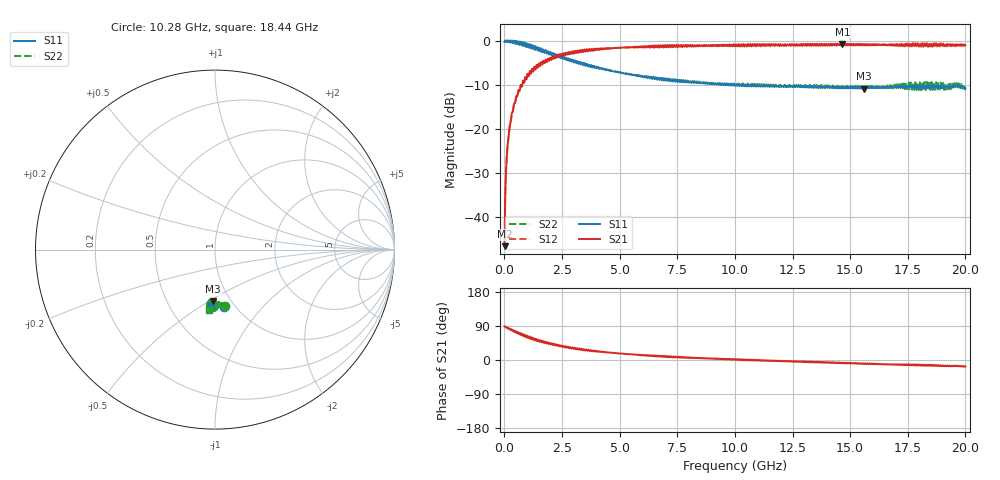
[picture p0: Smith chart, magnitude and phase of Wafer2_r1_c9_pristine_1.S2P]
!  2-Port S-parameters saved by WinCal
! VAR MeasName=S-Parameters (CALIBRATED_DATA) read from VNA (P5004A)
! VAR MeasDate=26/04/2024 17:50:42
! VAR NAME=Wafer2_r1_c9_pristine
! VAR FILENAME=Wafer2_r1_c9_pristine_1.S2P
! VAR DATE=26/04/2024 17:50:42
! VAR PHYS_PORTS=1,2
! VAR ObjTypeName=DATASET
! VAR IndexType=Frequency
# Hz S MA R 50
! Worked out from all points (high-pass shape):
!   1999 points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, 10.01 MHz to 20 GHz, reference 50 ohm
!   highest |S21| = -0.64 dB at 14.67 GHz (marker M1); lowest = -46.5 dB at 10.01 MHz (marker M2)
!   |S21| within 3 dB of the highest: 2.164 GHz to 2.215 GHz (50.91 MHz wide, 2.33 % of centre); 2.25 GHz to end of sweep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
!   lowest |S11| = -10.8 dB at 15.61 GHz (marker M3), VSWR 1.81, Z = 41.5 - j26.2 ohm
!   |S11| at or under -10 dB: 11.09 GHz to 18.15 GHz (7.06 GHz wide, 48.3 % of centre); 18.85 GHz to 19.54 GHz (687.6 MHz wide, 3.58 % of centre); 19.65 GHz to end of sweep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
!   |S22| runs from -11.2 to 0.1 dB; largest |S21 - S12| = 0.037
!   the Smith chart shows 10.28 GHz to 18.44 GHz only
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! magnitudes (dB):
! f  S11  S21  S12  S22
! 10.01 MHz  -0.2  -46.5  -46.5  -0.2
! 50.03 MHz  0.1  -32.4  -32.5  0.1
! 120.1 MHz  0.1  -25.0  -25.0  0.0
! 160.1 MHz  -0.1  -22.6  -22.7  -0.1
! 210.1 MHz  0.0  -20.2  -20.2  0.0
! 280.1 MHz  -0.3  -18.1  -18.0  -0.3
! 380.2 MHz  -0.4  -15.5  -15.5  -0.4
! 500.3 MHz  -0.1  -13.0  -12.9  -0.1
! 660.3 MHz  -0.9  -11.3  -11.3  -0.8
! 1.051 GHz  -1.5  -8.0  -8.0  -1.5
! 1.551 GHz  -2.3  -5.6  -5.6  -2.3
! 2.331 GHz  -3.7  -3.6  -3.6  -3.6
! 3.342 GHz  -5.2  -2.4  -2.3  -5.1
! 4.892 GHz  -7.0  -1.5  -1.6  -6.9
! 6.673 GHz  -8.3  -1.0  -1.0  -8.5
! 10.01 GHz  -10.1  -1.1  -1.2  -10.0
! 13.35 GHz  -10.3  -0.8  -0.7  -10.0
! 14.67 GHz  -10.3  -0.6  -0.6  -10.3
! 15.61 GHz  -10.8  -0.9  -0.9  -10.7
! 16.68 GHz  -10.5  -0.9  -1.0  -10.7
! 19.59 GHz  -10.4  -1.1  -1.1  -10.5
! 20 GHz  -10.6  -1.0  -0.8  -10.6
